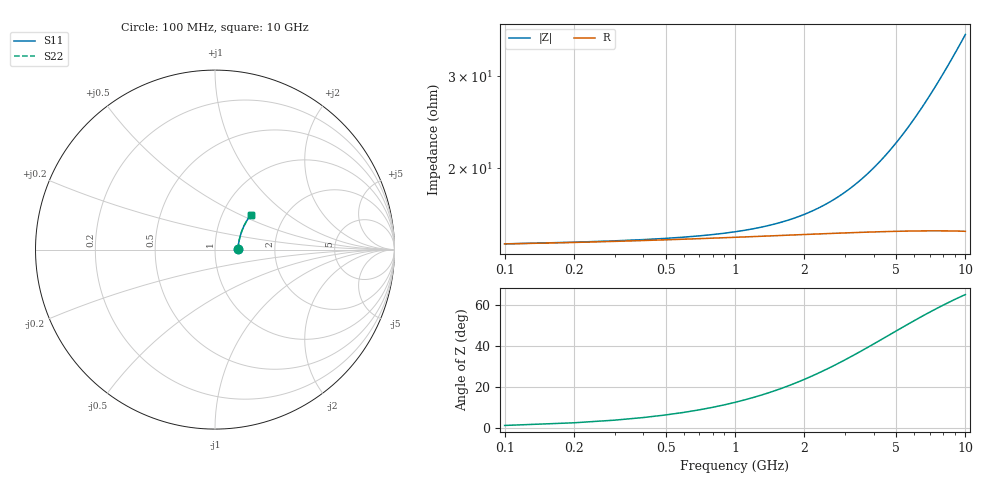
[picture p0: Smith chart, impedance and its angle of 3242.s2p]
# Hz S RI R 50.00
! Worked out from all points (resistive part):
!   100 points, 100 MHz to 10 GHz, reference 50 ohm
!   read as one part in series: R = 14.4 ohm at 100 MHz
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1e8  0.1255 0.00214  0.8745 -0.00289  0.8745 -0.00289  0.1255 0.00214
2e8  0.1262 0.00428  0.8738 -0.00576  0.8738 -0.00576  0.1262 0.00428
3e8  0.1268 0.00641  0.8732 -0.00864  0.8732 -0.00864  0.1268 0.00641
8e8  0.1288 0.017  0.8712 -0.0229  0.8712 -0.0229  0.1288 0.017
1.1e9  0.1298 0.0233  0.8702 -0.0315  0.8702 -0.0315  0.1298 0.0233
1.4e9  0.1308 0.0296  0.8691 -0.04  0.8691 -0.04  0.1308 0.0296
1.8e9  0.1322 0.038  0.8677 -0.0514  0.8677 -0.0514  0.1322 0.038
2.1e9  0.1334 0.0443  0.8665 -0.0598  0.8665 -0.0598  0.1334 0.0443
2.5e9  0.135 0.0525  0.8648 -0.0711  0.8648 -0.0711  0.135 0.0525
2.9e9  0.1369 0.0608  0.8629 -0.0823  0.8629 -0.0823  0.1369 0.0608
3.4e9  0.1394 0.071  0.8603 -0.0962  0.8603 -0.0962  0.1394 0.071
3.8e9  0.1416 0.0791  0.8579 -0.1073  0.8579 -0.1073  0.1416 0.0791
4.3e9  0.1446 0.0891  0.8548 -0.121  0.8548 -0.121  0.1446 0.0891
5.1e9  0.1501 0.1048  0.8491 -0.1427  0.8491 -0.1427  0.1501 0.1048
6e9  0.1571 0.122  0.8418 -0.1666  0.8418 -0.1666  0.1571 0.122
6.7e9  0.1631 0.1351  0.8355 -0.1849  0.8355 -0.1849  0.1631 0.1351
7.2e9  0.1678 0.1442  0.8307 -0.1977  0.8307 -0.1977  0.1678 0.1442
7.6e9  0.1717 0.1513  0.8266 -0.2079  0.8266 -0.2079  0.1717 0.1513
8.4e9  0.18 0.1653  0.8179 -0.2278  0.8179 -0.2278  0.18 0.1653
8.8e9  0.1844 0.172  0.8133 -0.2375  0.8133 -0.2375  0.1844 0.172
9.2e9  0.1889 0.1786  0.8086 -0.2471  0.8086 -0.2471  0.1889 0.1786
1e10  0.1984 0.1914  0.7986 -0.2659  0.7986 -0.2659  0.1984 0.1914
